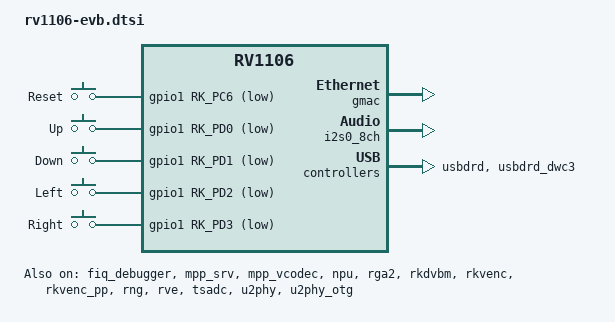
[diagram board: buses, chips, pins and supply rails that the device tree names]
// SPDX-License-Identifier: (GPL-2.0+ OR MIT)
/*
 * Copyright (c) 2022 Rockchip Electronics Co., Ltd.
 */
#include "rv1106-amp.dtsi"
#include <dt-bindings/input/input.h>

/ {
	/**********KEYBOARD**********/
	gpio-keys {
		compatible = "gpio-keys";
		label = "keypad";
		autorepeat;

		reset {
			label = "Reset";
			linux,code = <1>; // KEY_ESC
			gpios = <&gpio1 RK_PC6 GPIO_ACTIVE_LOW>;
			debounce-interval = <5>;
			wakeup-source;
		};

		up {
			label = "Up";
			linux,code = <103>; // KEY_UP
			gpios = <&gpio1 RK_PD0 GPIO_ACTIVE_LOW>;
			debounce-interval = <5>;
			wakeup-source;
		};

		down {
			label = "Down";
			linux,code = <108>; // KEY_DOWN
			gpios = <&gpio1 RK_PD1 GPIO_ACTIVE_LOW>;
			debounce-interval = <5>;
			wakeup-source;
		};

		left {
			label = "Left";
			linux,code = <105>; // KEY_LEFT
			gpios = <&gpio1 RK_PD2 GPIO_ACTIVE_LOW>;
			debounce-interval = <5>;
			wakeup-source;
		};

		right {
			label = "Right";
			linux,code = <106>; // KEY_RIGHT
			gpios = <&gpio1 RK_PD3 GPIO_ACTIVE_LOW>;
			debounce-interval = <5>;
			wakeup-source;
		};
	};
};

&fiq_debugger {
	rockchip,irq-mode-enable = <1>;
	status = "okay";
};

&gmac {
	status = "okay";
};

&i2s0_8ch {
	status = "okay";
};

&mpp_srv {
	status = "okay";
};

&mpp_vcodec {
	status = "okay";
};

&npu {
	status = "okay";
};

&rga2 {
	status = "okay";
};

&rkdvbm {
	status = "okay";
};

&rkvenc {
	status = "okay";
};

&rkvenc_pp {
	status = "okay";
};

&rmii_phy {
	bgs,increment = <0>;
};

&rng {
	status = "okay";
};

&rve {
	status = "okay";
};

&tsadc {
	status = "okay";
};

&u2phy {
	status = "okay";
};

&u2phy_otg {
	status = "okay";
};

&usbdrd {
	status = "okay";
};

&usbdrd_dwc3 {
	extcon = <&u2phy>;
	status = "okay";
};
